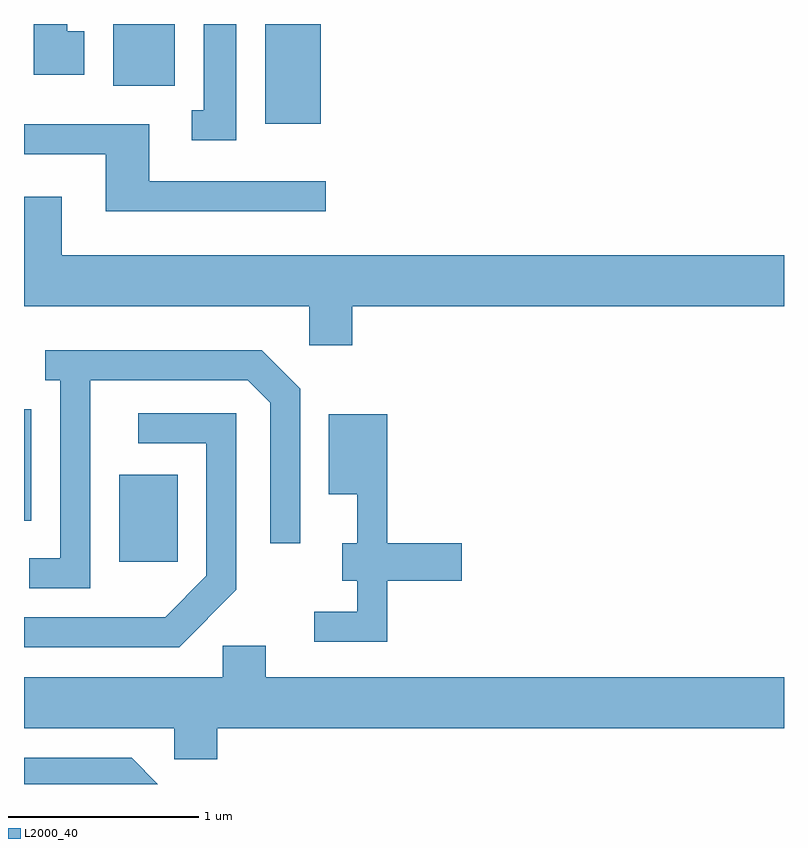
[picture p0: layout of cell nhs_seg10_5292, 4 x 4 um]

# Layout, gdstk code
import gdstk
lib = gdstk.Library(unit=1e-6, precision=1e-09)
def R(c, l, rs):  # rectangles x0, y0, x1, y1
    for r in rs: c.add(gdstk.rectangle(r[:2], r[2:], *l))
def P(c, l, *ps):  # polygons
    for p in ps: c.add(gdstk.Polygon(p, *l))
L2000_40 = (2000, 40)

nhs_seg10_5292 = lib.new_cell('nhs_seg10_5292')
R(nhs_seg10_5292, L2000_40, [(342.111,2103.691,342.419,2104.149), (341.611,2103.908,341.649,2104.494), (342.881,2105.996,343.174,2106.522), (342.081,2106.196,342.404,2106.522)])
P(nhs_seg10_5292, L2000_40, [(342.729,2106.522),(342.556,2106.522),(342.556,2106.069),(342.493,2106.069),(342.493,2105.911),(342.729,2105.911)],
  [(341.929,2106.484),(341.839,2106.484),(341.839,2106.522),(341.661,2106.522),(341.661,2106.256),(341.929,2106.256)],
  [(343.198,2105.694),(342.269,2105.694),(342.269,2105.994),(341.611,2105.994),(341.611,2105.836),(342.041,2105.836),(342.041,2105.536),(343.198,2105.536)],
  [(343.339,2105.036),(345.611,2105.036),(345.611,2105.304),(341.809,2105.304),(341.809,2105.614),(341.611,2105.614),(341.611,2105.036),(343.111,2105.036),(343.111,2104.831),(343.339,2104.831)],
  [(341.959,2104.646),(342.789,2104.646),(342.906,2104.529),(342.906,2103.788),(343.064,2103.788),(343.064,2104.602),(342.862,2104.804),(341.723,2104.804),(341.723,2104.646),(341.801,2104.646),(341.801,2103.709),(341.638,2103.709),(341.638,2103.551),(341.959,2103.551)],
  [(342.729,2103.544),(342.729,2104.474),(342.213,2104.474),(342.213,2104.316),(342.571,2104.316),(342.571,2103.617),(342.354,2103.399),(341.611,2103.399),(341.611,2103.241),(342.427,2103.241)],
  [(343.524,2103.591),(343.914,2103.591),(343.914,2103.789),(343.524,2103.789),(343.524,2104.469),(343.216,2104.469),(343.216,2104.046),(343.366,2104.046),(343.366,2103.789),(343.286,2103.789),(343.286,2103.591),(343.366,2103.591),(343.366,2103.429),(343.138,2103.429),(343.138,2103.271),(343.524,2103.271)],
  [(342.629,2102.816),(345.611,2102.816),(345.611,2103.084),(342.884,2103.084),(342.884,2103.249),(342.656,2103.249),(342.656,2103.084),(341.611,2103.084),(341.611,2102.816),(342.401,2102.816),(342.401,2102.651),(342.629,2102.651)],
  [(342.177,2102.659),(341.611,2102.659),(341.611,2102.522),(342.314,2102.522)])

lib.write_gds('nhs_seg10_5292.gds')
